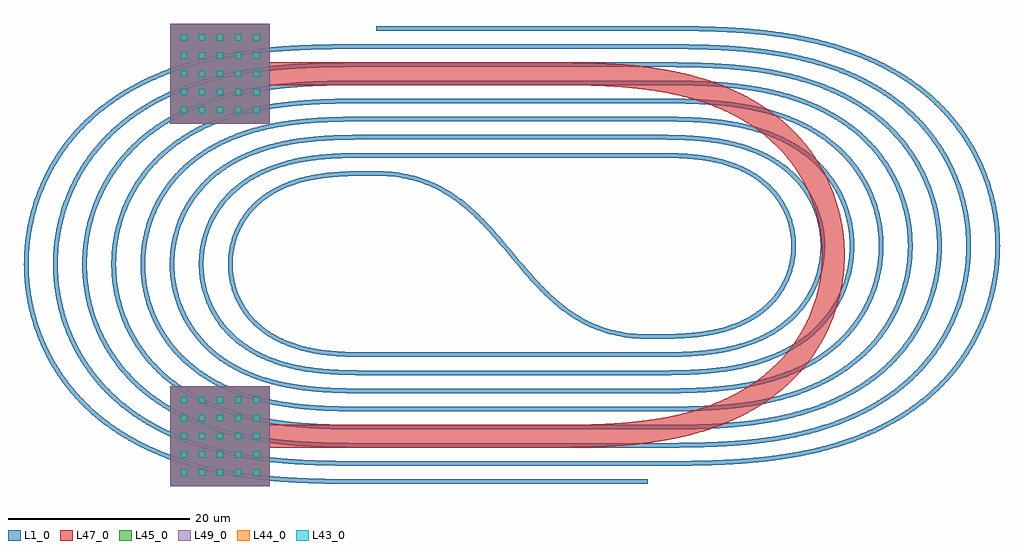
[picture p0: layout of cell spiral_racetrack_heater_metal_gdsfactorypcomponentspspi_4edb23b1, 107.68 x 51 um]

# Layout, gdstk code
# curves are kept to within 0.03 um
from math import pi, radians
import gdstk
lib = gdstk.Library(unit=1e-6, precision=1e-09)
def R(c, l, rs):  # rectangles x0, y0, x1, y1
    for r in rs: c.add(gdstk.rectangle(r[:2], r[2:], *l))
def P(c, l, *ps):  # polygons
    for p in ps: c.add(gdstk.Polygon(p, *l))
L1_0 = (1, 0)
L43_0 = (43, 0)
L44_0 = (44, 0)
L45_0 = (45, 0)
L47_0 = (47, 0)
L49_0 = (49, 0)

bend_s_gdsfactorypcompon = lib.new_cell('bend_s_gdsfactorypcomponentspbendspbend_s_S30_m18_N99_C_290427a1')
P(bend_s_gdsfactorypcompon, L1_0, [(30,-18.25),(29.088,-18.228),(27.785,-18.112),(26.959,-17.984),(25.78,-17.717),(25.031,-17.494),(23.962,-17.095),(22.953,-16.624),(21.998,-16.088),(21.094,-15.495),(20.235,-14.849),(19.415,-14.159),(18.375,-13.181),(16.665,-11.35),(13.426,-7.518),(12.008,-5.931),(10.513,-4.448),(8.901,-3.118),(8.039,-2.525),(7.132,-1.987),(5.507,-1.23),(4.09,-0.765),(2.95,-0.508),(1.317,-0.299),(0,-0.25),(0,0.25),(0.912,0.228),(2.215,0.112),(3.041,-0.016),(4.22,-0.283),(4.969,-0.506),(6.038,-0.905),(7.047,-1.376),(8.002,-1.912),(8.906,-2.505),(9.765,-3.151),(10.585,-3.841),(11.625,-4.819),(13.335,-6.65),(16.574,-10.482),(17.992,-12.069),(19.487,-13.552),(21.099,-14.882),(21.961,-15.475),(22.868,-16.013),(24.493,-16.77),(25.91,-17.235),(27.05,-17.492),(28.683,-17.701),(30,-17.75)])

bend_euler_gdsfactorypco = lib.new_cell('bend_euler_gdsfactorypcomponentspbendspbend_euler_R10_A_1eac9e25')
P(bend_euler_gdsfactorypco, L1_0, [(0,-0.25),(0,0.25),(2.604,0.273),(4.503,0.368),(6.214,0.563),(7.73,0.858),(8.883,1.184),(9.845,1.539),(10.772,1.97),(11.655,2.481),(12.614,3.182),(13.475,3.996),(14.121,4.779),(14.755,5.779),(15.188,6.697),(15.556,7.822),(15.77,8.987),(15.828,10),(15.77,11.013),(15.556,12.178),(15.188,13.303),(14.755,14.221),(14.121,15.221),(13.475,16.004),(12.614,16.818),(11.655,17.519),(10.772,18.03),(9.845,18.461),(8.883,18.816),(7.73,19.142),(6.214,19.437),(4.503,19.632),(2.604,19.727),(0,19.75),(0,20.25),(2.268,20.235),(4.192,20.156),(5.766,20.005),(7.158,19.779),(8.531,19.447),(9.707,19.055),(10.844,18.555),(12.075,17.842),(12.795,17.316),(13.594,16.602),(14.195,15.94),(14.73,15.224),(15.194,14.46),(15.583,13.655),(15.893,12.817),(16.122,11.953),(16.267,11.071),(16.328,10),(16.285,9.107),(16.157,8.222),(15.893,7.183),(15.583,6.345),(15.194,5.54),(14.73,4.776),(14.195,4.06),(13.594,3.398),(13.07,2.912),(12.368,2.361),(11.624,1.872),(10.844,1.445),(9.207,0.765),(7.331,0.256),(5.417,-0.047),(2.967,-0.217)])

straight_gdsfactorypcomp = lib.new_cell('straight_gdsfactorypcomponentspwaveguidespstraight_L30__a17b4e39')
R(straight_gdsfactorypcomp, L1_0, [(0,-0.25,30,0.25)])

c_bend_euler_gdsfactorypco = lib.new_cell('bend_euler_gdsfactorypcomponentspbendspbend_euler_R12_A_25572104')
P(c_bend_euler_gdsfactorypco, L1_0, [(0,-0.25),(0,0.25),(3.107,0.277),(5.169,0.374),(7.216,0.589),(9.067,0.929),(10.386,1.281),(11.671,1.734),(12.909,2.298),(13.94,2.888),(15.042,3.677),(16.043,4.589),(16.928,5.628),(17.673,6.772),(18.265,8.002),(18.695,9.298),(18.956,10.638),(19.044,12),(18.956,13.362),(18.695,14.702),(18.265,15.998),(17.673,17.228),(16.928,18.372),(16.043,19.411),(15.042,20.323),(13.94,21.112),(12.909,21.702),(11.671,22.266),(10.386,22.719),(9.067,23.071),(7.216,23.411),(5.169,23.626),(3.107,23.723),(0,23.75),(0,24.25),(2.773,24.231),(5.032,24.137),(6.941,23.953),(8.665,23.669),(10.197,23.297),(11.858,22.73),(13.294,22.065),(14.504,21.341),(15.493,20.601),(16.277,19.887),(16.998,19.093),(17.639,18.234),(18.195,17.317),(18.66,16.351),(19.031,15.344),(19.303,14.307),(19.474,13.249),(19.544,12),(19.492,10.929),(19.338,9.868),(19.083,8.827),(18.729,7.814),(18.195,6.683),(17.639,5.766),(16.998,4.907),(16.277,4.113),(15.628,3.513),(14.794,2.86),(13.908,2.281),(12.981,1.774),(12.02,1.337),(11.034,0.965),(9.008,0.403),(7.632,0.146),(6.421,-0.015),(3.815,-0.201)])

c_bend_euler_gdsfactorypco_ = lib.new_cell('bend_euler_gdsfactorypcomponentspbendspbend_euler_R14_A_e64b8990')
P(c_bend_euler_gdsfactorypco_, L1_0, [(0,-0.25),(0,0.25),(3.611,0.281),(6.008,0.393),(8.389,0.641),(10.404,1.002),(12.052,1.431),(13.656,1.994),(15.046,2.627),(16.368,3.387),(17.602,4.278),(18.847,5.428),(19.837,6.614),(20.674,7.914),(21.343,9.307),(21.835,10.772),(22.164,12.457),(22.259,14),(22.164,15.543),(21.835,17.228),(21.343,18.693),(20.674,20.086),(19.837,21.386),(18.847,22.572),(17.602,23.722),(16.368,24.613),(15.046,25.373),(13.656,26.006),(12.052,26.569),(10.404,26.998),(8.389,27.359),(6.008,27.607),(3.611,27.719),(0,27.75),(0,28.25),(3.278,28.227),(5.871,28.118),(8.287,27.878),(10.172,27.559),(12.03,27.097),(13.843,26.469),(15.429,25.738),(16.931,24.841),(18.053,23.999),(18.96,23.172),(19.801,22.246),(20.549,21.243),(21.196,20.173),(21.738,19.046),(22.168,17.872),(22.519,16.487),(22.699,15.249),(22.759,14),(22.699,12.751),(22.519,11.513),(22.168,10.128),(21.738,8.954),(21.196,7.827),(20.549,6.757),(19.914,5.893),(19.086,4.956),(18.32,4.229),(17.361,3.462),(16.342,2.78),(15.274,2.182),(14.166,1.664),(12.861,1.166),(11.695,0.807),(10.172,0.441),(8.803,0.197),(7.253,-0.001),(4.142,-0.204)])

c_bend_euler_gdsfactorypco__ = lib.new_cell('bend_euler_gdsfactorypcomponentspbendspbend_euler_R16_A_886625e9')
P(c_bend_euler_gdsfactorypco__, L1_0, [(0,-0.25),(0,0.25),(4.145,0.286),(7.07,0.428),(9.633,0.703),(11.829,1.095),(13.654,1.563),(15.434,2.172),(17.149,2.938),(18.632,3.78),(20.153,4.873),(21.528,6.14),(22.205,6.903),(22.726,7.574),(23.645,9.004),(24.388,10.532),(24.744,11.488),(24.988,12.302),(25.184,13.129),(25.353,14.135),(25.439,14.981),(25.475,16),(25.439,17.019),(25.353,17.865),(25.184,18.871),(24.988,19.698),(24.744,20.512),(24.388,21.468),(23.645,22.996),(22.726,24.426),(22.205,25.097),(21.528,25.86),(20.153,27.127),(18.632,28.22),(17.149,29.062),(15.434,29.828),(13.654,30.437),(11.829,30.905),(9.633,31.297),(7.07,31.572),(4.145,31.714),(0,31.75),(0,32.25),(3.638,32.226),(6.587,32.107),(9.013,31.883),(11.423,31.5),(13.629,30.966),(15.779,30.229),(17.531,29.428),(18.451,28.917),(19.34,28.353),(20.604,27.404),(21.644,26.457),(22.59,25.415),(23.434,24.289),(24.166,23.087),(24.781,21.821),(25.326,20.335),(25.674,18.971),(25.908,17.406),(25.975,16),(25.908,14.594),(25.674,13.029),(25.326,11.665),(24.781,10.179),(24.166,8.913),(23.434,7.711),(22.59,6.585),(21.644,5.543),(20.739,4.709),(19.629,3.847),(18.601,3.173),(17.375,2.492),(16.103,1.904),(14.63,1.347),(13.124,0.894),(11.765,0.57),(10.049,0.259),(8.494,0.057),(6.587,-0.107),(4.852,-0.193)])

c_bend_euler_gdsfactorypco___ = lib.new_cell('bend_euler_gdsfactorypcomponentspbendspbend_euler_R18_A_66ef1155')
P(c_bend_euler_gdsfactorypco___, L1_0, [(0,-0.25),(0,0.25),(4.133,0.278),(7.395,0.411),(10.467,0.709),(13.166,1.17),(15.32,1.713),(17.419,2.432),(19.286,3.267),(21.06,4.279),(22.713,5.475),(23.608,6.257),(24.213,6.856),(24.898,7.619),(25.534,8.423),(26.117,9.267),(26.646,10.146),(27.117,11.056),(27.529,11.995),(27.881,12.958),(28.171,13.942),(28.398,14.942),(28.56,15.954),(28.658,16.975),(28.691,18),(28.658,19.025),(28.56,20.046),(28.398,21.058),(28.171,22.058),(27.881,23.042),(27.529,24.005),(27.117,24.944),(26.646,25.854),(26.117,26.733),(25.534,27.577),(24.898,28.381),(24.213,29.144),(23.608,29.743),(22.713,30.525),(21.06,31.721),(19.286,32.733),(17.419,33.568),(15.32,34.287),(13.166,34.83),(10.467,35.291),(7.395,35.589),(4.133,35.722),(0,35.75),(0,36.25),(4.143,36.222),(7.427,36.088),(10.188,35.831),(12.93,35.39),(15.462,34.766),(17.764,33.969),(19.822,33.019),(21.622,31.95),(23.029,30.913),(24.203,29.865),(25.281,28.704),(26.244,27.444),(27.167,25.944),(27.858,24.517),(28.463,22.862),(28.854,21.326),(29.115,19.584),(29.191,18),(29.115,16.416),(28.889,14.847),(28.514,13.306),(27.927,11.645),(27.251,10.211),(26.343,8.702),(25.505,7.568),(24.574,6.51),(23.43,5.424),(22.196,4.449),(20.885,3.581),(19.511,2.821),(18.087,2.164),(16.457,1.548),(14.792,1.045),(13.1,0.645),(11.22,0.31),(9.499,0.089),(7.773,-0.064),(5.699,-0.177)])

c_bend_euler_gdsfactorypco____ = lib.new_cell('bend_euler_gdsfactorypcomponentspbendspbend_euler_R20_A_a8ec6996')
P(c_bend_euler_gdsfactorypco____, L1_0, [(0,-0.25),(0,0.25),(4.637,0.282),(8.234,0.43),(11.301,0.717),(14.336,1.21),(16.823,1.817),(19.086,2.569),(21.271,3.52),(23.201,4.596),(24.191,5.255),(25.141,5.97),(25.918,6.628),(26.778,7.449),(27.478,8.204),(28.238,9.135),(28.933,10.114),(29.477,10.989),(29.969,11.894),(30.476,12.983),(30.909,14.104),(31.266,15.251),(31.545,16.419),(31.746,17.604),(31.854,18.628),(31.906,19.828),(31.877,21.029),(31.768,22.226),(31.579,23.412),(31.354,24.417),(31.019,25.571),(30.67,26.54),(30.195,27.643),(29.729,28.562),(29.211,29.452),(28.544,30.451),(27.811,31.403),(27.016,32.304),(26.292,33.028),(25.403,33.815),(24.467,34.547),(23.488,35.222),(22.472,35.84),(21.423,36.404),(19.404,37.308),(16.986,38.136),(14.671,38.72),(11.979,39.193),(8.747,39.534),(5.152,39.706),(0,39.75),(0,40.25),(4.648,40.218),(8.267,40.069),(11.363,39.779),(14.266,39.314),(15.62,39.017),(17.127,38.616),(19.588,37.773),(20.865,37.227),(21.957,36.691),(23.02,36.099),(24.05,35.45),(25.589,34.311),(26.887,33.149),(28.084,31.857),(29.153,30.454),(30.168,28.801),(30.936,27.213),(31.548,25.558),(32.035,23.681),(32.304,21.937),(32.406,20.176),(32.322,18.238),(32.035,16.319),(31.548,14.442),(30.936,12.787),(30.168,11.199),(29.252,9.692),(28.419,8.553),(27.258,7.225),(25.989,6.025),(24.763,5.05),(23.318,4.08),(21.648,3.15),(19.91,2.357),(18.285,1.749),(16.627,1.242),(14.775,0.791),(12.562,0.387),(10.504,0.122),(8.267,-0.069),(6.199,-0.174)])

c_bend_euler_gdsfactorypco_____ = lib.new_cell('bend_euler_gdsfactorypcomponentspbendspbend_euler_R22_A_bfdc8201')
P(c_bend_euler_gdsfactorypco_____, L1_0, [(0,-0.25),(0,0.25),(4.998,0.283),(9.123,0.452),(11.007,0.606),(12.883,0.822),(15.927,1.338),(18.587,1.996),(19.894,2.404),(21.181,2.87),(22.444,3.396),(23.525,3.908),(25.608,5.08),(26.74,5.842),(27.691,6.564),(28.599,7.338),(29.579,8.285),(30.492,9.297),(31.231,10.233),(31.913,11.211),(32.618,12.377),(33.167,13.435),(33.716,14.683),(34.177,15.965),(34.507,17.111),(34.767,18.274),(34.957,19.452),(35.075,20.638),(35.122,22),(35.075,23.362),(34.957,24.548),(34.767,25.726),(34.507,26.889),(34.177,28.035),(33.716,29.317),(33.167,30.565),(32.618,31.623),(31.913,32.789),(31.231,33.767),(30.492,34.703),(29.579,35.715),(28.599,36.662),(27.691,37.436),(26.74,38.158),(25.608,38.92),(23.525,40.092),(22.444,40.604),(21.181,41.13),(19.894,41.596),(18.587,42.004),(15.927,42.662),(12.883,43.178),(11.007,43.394),(9.123,43.548),(4.998,43.717),(0,43.75),(0,44.25),(5.008,44.217),(9.156,44.047),(12.434,43.74),(15.518,43.254),(17.046,42.925),(18.559,42.532),(20.054,42.069),(21.362,41.596),(22.488,41.131),(23.905,40.461),(25.279,39.706),(26.459,38.962),(28.14,37.716),(29.57,36.435),(30.874,35.025),(32.138,33.353),(33.139,31.714),(34.048,29.826),(34.706,28.021),(35.225,25.991),(35.514,24.092),(35.622,22),(35.514,19.908),(35.225,18.009),(34.706,15.979),(34.048,14.174),(33.139,12.286),(32.138,10.647),(31.097,9.245),(29.817,7.812),(28.408,6.507),(27.032,5.436),(25.429,4.383),(23.905,3.539),(22.008,2.664),(20.054,1.931),(18.056,1.329),(16.198,0.884),(13.979,0.476),(11.573,0.161),(9.502,-0.023),(6.909,-0.163),(4.317,-0.229)])

c_bend_euler_gdsfactorypco______ = lib.new_cell('bend_euler_gdsfactorypcomponentspbendspbend_euler_R24_A_7d40b3c7')
P(c_bend_euler_gdsfactorypco______, L1_0, [(0,-0.25),(0,0.25),(5.503,0.287),(9.962,0.471),(13.717,0.83),(15.412,1.075),(17.264,1.414),(18.766,1.751),(20.253,2.147),(21.721,2.605),(23.007,3.068),(24.271,3.586),(25.662,4.237),(26.867,4.878),(28.036,5.579),(29.166,6.342),(30.251,7.166),(31.285,8.052),(32.264,9.001),(33.184,10.013),(34.038,11.081),(34.823,12.202),(35.535,13.37),(36.171,14.581),(36.794,15.988),(37.261,17.274),(37.647,18.586),(37.948,19.92),(38.164,21.271),(38.294,22.633),(38.338,24),(38.294,25.367),(38.164,26.729),(37.948,28.08),(37.647,29.414),(37.261,30.726),(36.794,32.012),(36.171,33.419),(35.535,34.63),(34.823,35.798),(34.038,36.919),(33.184,37.987),(32.264,38.999),(31.285,39.948),(30.251,40.834),(29.166,41.658),(28.036,42.421),(26.867,43.122),(25.662,43.763),(24.271,44.414),(23.007,44.932),(21.721,45.395),(20.253,45.853),(18.766,46.249),(17.264,46.586),(15.412,46.925),(13.717,47.17),(9.962,47.529),(5.503,47.713),(0,47.75),(0,48.25),(5.513,48.213),(9.823,48.039),(13.608,47.688),(15.492,47.419),(17.195,47.11),(19.053,46.693),(20.725,46.236),(22.373,45.699),(23.671,45.208),(24.946,44.66),(26.35,43.973),(27.564,43.297),(28.886,42.462),(30.7,41.113),(32.377,39.597),(33.9,37.908),(35.145,36.218),(36.223,34.417),(37.192,32.36),(37.894,30.382),(38.439,28.174),(38.738,26.097),(38.837,23.825),(38.702,21.555),(38.37,19.483),(37.843,17.451),(37.057,15.317),(36.14,13.429),(34.949,11.492),(33.789,9.957),(32.501,8.528),(30.968,7.109),(29.457,5.935),(27.862,4.882),(26.041,3.868),(24.152,2.991),(22.045,2.187),(19.891,1.526),(17.703,0.995),(15.492,0.581),(12.922,0.231),(10.34,-0.004),(7.237,-0.166),(4.479,-0.23)])

spiral_racetrack_gdsfact = lib.new_cell('spiral_racetrack_gdsfactorypcomponentspspiralspspiral_h_4be1007a')
spiral_racetrack_gdsfact.add(gdstk.Reference(bend_s_gdsfactorypcompon, (0,0)))
spiral_racetrack_gdsfact.add(gdstk.Reference(bend_euler_gdsfactorypco, (0,0), rotation=pi))
spiral_racetrack_gdsfact.add(gdstk.Reference(straight_gdsfactorypcomp, (0,-20)))
spiral_racetrack_gdsfact.add(gdstk.Reference(c_bend_euler_gdsfactorypco, (30,-20)))
spiral_racetrack_gdsfact.add(gdstk.Reference(straight_gdsfactorypcomp, (30,4), rotation=pi))
spiral_racetrack_gdsfact.add(gdstk.Reference(c_bend_euler_gdsfactorypco_, (0,4), rotation=pi))
spiral_racetrack_gdsfact.add(gdstk.Reference(straight_gdsfactorypcomp, (0,-24)))
spiral_racetrack_gdsfact.add(gdstk.Reference(c_bend_euler_gdsfactorypco__, (30,-24)))
spiral_racetrack_gdsfact.add(gdstk.Reference(straight_gdsfactorypcomp, (30,8), rotation=pi))
spiral_racetrack_gdsfact.add(gdstk.Reference(c_bend_euler_gdsfactorypco___, (0,8), rotation=pi))
spiral_racetrack_gdsfact.add(gdstk.Reference(straight_gdsfactorypcomp, (0,-28)))
spiral_racetrack_gdsfact.add(gdstk.Reference(c_bend_euler_gdsfactorypco____, (30,-28)))
spiral_racetrack_gdsfact.add(gdstk.Reference(straight_gdsfactorypcomp, (30,12), rotation=pi))
spiral_racetrack_gdsfact.add(gdstk.Reference(c_bend_euler_gdsfactorypco_____, (0,12), rotation=pi))
spiral_racetrack_gdsfact.add(gdstk.Reference(straight_gdsfactorypcomp, (0,-32)))
spiral_racetrack_gdsfact.add(gdstk.Reference(c_bend_euler_gdsfactorypco______, (30,-32)))
spiral_racetrack_gdsfact.add(gdstk.Reference(straight_gdsfactorypcomp, (30,16), rotation=pi))
spiral_racetrack_gdsfact.add(gdstk.Reference(bend_euler_gdsfactorypco, (30,-18)))
spiral_racetrack_gdsfact.add(gdstk.Reference(straight_gdsfactorypcomp, (30,2), rotation=pi))
spiral_racetrack_gdsfact.add(gdstk.Reference(c_bend_euler_gdsfactorypco, (0,2), rotation=pi))
spiral_racetrack_gdsfact.add(gdstk.Reference(straight_gdsfactorypcomp, (0,-22)))
spiral_racetrack_gdsfact.add(gdstk.Reference(c_bend_euler_gdsfactorypco_, (30,-22)))
spiral_racetrack_gdsfact.add(gdstk.Reference(straight_gdsfactorypcomp, (30,6), rotation=pi))
spiral_racetrack_gdsfact.add(gdstk.Reference(c_bend_euler_gdsfactorypco__, (0,6), rotation=pi))
spiral_racetrack_gdsfact.add(gdstk.Reference(straight_gdsfactorypcomp, (0,-26)))
spiral_racetrack_gdsfact.add(gdstk.Reference(c_bend_euler_gdsfactorypco___, (30,-26)))
spiral_racetrack_gdsfact.add(gdstk.Reference(straight_gdsfactorypcomp, (30,10), rotation=pi))
spiral_racetrack_gdsfact.add(gdstk.Reference(c_bend_euler_gdsfactorypco____, (0,10), rotation=pi))
spiral_racetrack_gdsfact.add(gdstk.Reference(straight_gdsfactorypcomp, (0,-30)))
spiral_racetrack_gdsfact.add(gdstk.Reference(c_bend_euler_gdsfactorypco_____, (30,-30)))
spiral_racetrack_gdsfact.add(gdstk.Reference(straight_gdsfactorypcomp, (30,14), rotation=pi))
spiral_racetrack_gdsfact.add(gdstk.Reference(c_bend_euler_gdsfactorypco______, (0,14), rotation=pi))
spiral_racetrack_gdsfact.add(gdstk.Reference(straight_gdsfactorypcomp, (0,-34)))

c_straight_gdsfactorypcomp = lib.new_cell('straight_gdsfactorypcomponentspwaveguidespstraight_L30__78cfbfa8')
R(c_straight_gdsfactorypcomp, L47_0, [(0,-1.25,30,1.25)])

c_bend_euler_gdsfactorypco_______ = lib.new_cell('bend_euler_gdsfactorypcomponentspbendspbend_euler_R20_A_4fd769f3')
P(c_bend_euler_gdsfactorypco_______, L47_0, [(0,-1.25),(0,1.25),(4.957,1.289),(8.337,1.439),(11.509,1.752),(14.136,2.19),(16.705,2.824),(19.036,3.622),(20.09,4.068),(21.262,4.638),(22.395,5.274),(23.348,5.886),(25.01,7.161),(25.836,7.921),(26.509,8.621),(27.243,9.485),(27.825,10.264),(28.851,11.916),(29.68,13.674),(30.017,14.586),(30.344,15.672),(30.597,16.778),(30.754,17.738),(30.857,18.705),(30.906,19.838),(30.887,20.81),(30.795,21.941),(30.656,22.903),(30.424,24.013),(30.118,25.106),(29.798,26.024),(29.003,27.798),(28.53,28.648),(27.918,29.603),(27.243,30.515),(26.617,31.259),(25.95,31.966),(25.131,32.733),(23.481,34.022),(22.395,34.726),(21.549,35.209),(20.534,35.726),(19.34,36.256),(17.021,37.082),(15.75,37.439),(14.136,37.81),(11.509,38.248),(8.337,38.561),(4.957,38.711),(0,38.75),(0,41.25),(4.669,41.218),(8.332,41.067),(11.311,40.793),(14.287,40.329),(17.064,39.674),(18.265,39.311),(19.62,38.833),(20.789,38.357),(22.098,37.743),(23.374,37.052),(24.303,36.481),(25.792,35.427),(27.323,34.118),(28.729,32.642),(29.87,31.174),(30.866,29.604),(31.707,27.945),(32.386,26.214),(32.937,24.244),(33.256,22.412),(33.403,20.372),(33.334,18.328),(33.086,16.485),(32.662,14.674),(32.067,12.912),(31.221,11.05),(30.287,9.443),(29.317,8.078),(28.234,6.802),(26.917,5.51),(25.501,4.352),(23.996,3.324),(22.421,2.422),(20.789,1.643),(18.945,0.919),(17.064,0.326),(15.158,-0.149),(13.063,-0.546),(11.136,-0.814),(8.683,-1.043),(6.236,-1.173)])

compass_gdsfactorypcompo = lib.new_cell('compass_gdsfactorypcomponentspshapespcompass_S11_11_LHE_3406ca65')
R(compass_gdsfactorypcompo, L47_0, [(-5.5,-5.5,5.5,5.5)])

c_compass_gdsfactorypcompo = lib.new_cell('compass_gdsfactorypcomponentspshapespcompass_S11_11_LM2_786eb8ce')
R(c_compass_gdsfactorypcompo, L45_0, [(-5.5,-5.5,5.5,5.5)])

c_compass_gdsfactorypcompo_ = lib.new_cell('compass_gdsfactorypcomponentspshapespcompass_S11_11_LM3_4637d102')
R(c_compass_gdsfactorypcompo_, L49_0, [(-5.5,-5.5,5.5,5.5)])

via_gdsfactorypcomponent = lib.new_cell('via_gdsfactorypcomponentspviaspvia_S0p7_0p7_E1_LVIA1_BL_0068d91e')
R(via_gdsfactorypcomponent, L44_0, [(-0.35,-0.35,0.35,0.35)])

c_via_gdsfactorypcomponent = lib.new_cell('via_gdsfactorypcomponentspviaspvia_S0p7_0p7_E1_LVIA2_BL_c51b5ebb')
R(c_via_gdsfactorypcomponent, L43_0, [(-0.35,-0.35,0.35,0.35)])

via_stack_gdsfactorypcom = lib.new_cell('via_stack_gdsfactorypcomponentspviaspvia_stack_S11_11_L_1d420169')
via_stack_gdsfactorypcom.add(gdstk.Reference(compass_gdsfactorypcompo, (0,0)))
via_stack_gdsfactorypcom.add(gdstk.Reference(c_compass_gdsfactorypcompo, (0,0)))
via_stack_gdsfactorypcom.add(gdstk.Reference(c_compass_gdsfactorypcompo_, (0,0)))
r = gdstk.Reference(via_gdsfactorypcomponent, (-4,-4)); r.repetition = gdstk.Repetition(5, 5, v1=(2,0), v2=(0,2)); via_stack_gdsfactorypcom.add(r)
r = gdstk.Reference(c_via_gdsfactorypcomponent, (-4,-4)); r.repetition = gdstk.Repetition(5, 5, v1=(2,0), v2=(0,2)); via_stack_gdsfactorypcom.add(r)

spiral_racetrack_heater_ = lib.new_cell('spiral_racetrack_heater_metal_gdsfactorypcomponentspspi_4edb23b1')
spiral_racetrack_heater_.add(gdstk.Reference(spiral_racetrack_gdsfact, (0,0)))
spiral_racetrack_heater_.add(gdstk.Reference(c_straight_gdsfactorypcomp, (18.297,-29), rotation=pi))
spiral_racetrack_heater_.add(gdstk.Reference(c_straight_gdsfactorypcomp, (18.297,11), rotation=pi))
spiral_racetrack_heater_.add(gdstk.Reference(c_bend_euler_gdsfactorypco_______, (18.297,-29)))
spiral_racetrack_heater_.add(gdstk.Reference(via_stack_gdsfactorypcom, (-17.203,11)))
spiral_racetrack_heater_.add(gdstk.Reference(via_stack_gdsfactorypcom, (-17.203,-29)))

lib.write_gds('spiral_racetrack_heater_metal_gdsfactorypcomponentspspi_4edb23b1.gds')
